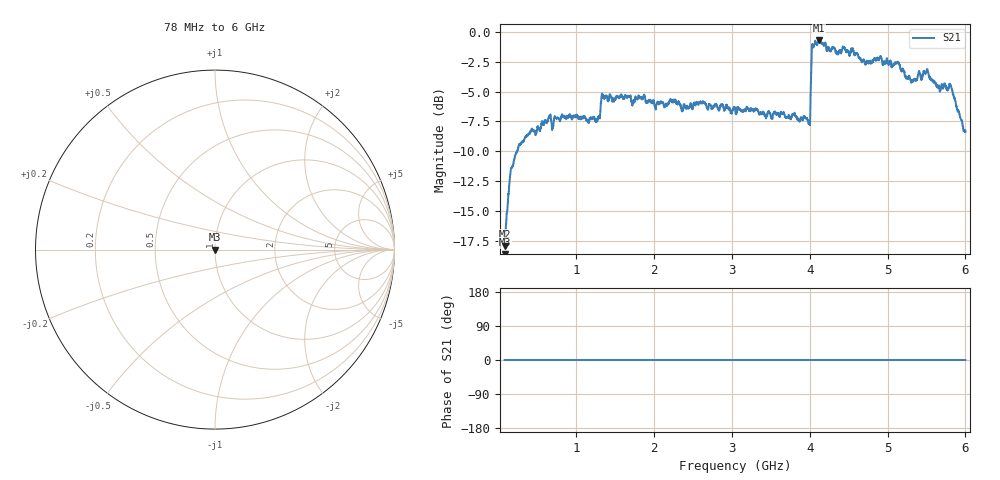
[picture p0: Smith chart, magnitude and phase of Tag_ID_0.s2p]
!	Parâmetros S - Tag_ID_0
#	Hz	S	MA	R	50
!	Freq	magS11	angS11	magS21	angS21	magS12	angS12	magS22	angS22
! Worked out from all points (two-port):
!   5923 points, 78 MHz to 6 GHz, reference 50 ohm
!   highest |S21| = -0.73 dB at 4.118 GHz (marker M1); lowest = -17.9 dB at 78 MHz (marker M2)
!   |S21| within 3 dB of the highest: 4.017 GHz to 5.222 GHz (1.204 GHz wide, 26.1 % of centre); 5.447 GHz to 5.531 GHz (83.85 MHz wide, 1.53 % of centre) (the widest 2 of 7)
!   lowest |S11| = - dB at 78 MHz (marker M3), VSWR 1.00, Z = 50 + j0 ohm
!   |S11| at or under -10 dB: start of sweep to end of sweep
!   S12 and S22 are empty: the file has one direction only
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7.8e7  0 0.0  0.127 0.0  0 0.0  0 0.0
1.63e8  0 0.0  0.27 0.0  0 0.0  0 0.0
2.79e8  0 0.0  0.3403 0.0  0 0.0  0 0.0
6.49e8  0 0.0  0.437 0.0  0 0.0  0 0.0
1.065e9  0 0.0  0.4383 0.0  0 0.0  0 0.0
1.276e9  0 0.0  0.4315 0.0  0 0.0  0 0.0
1.352e9  0 0.0  0.5269 0.0  0 0.0  0 0.0
2.052e9  0 0.0  0.5088 0.0  0 0.0  0 0.0
3.039e9  0 0.0  0.4779 0.0  0 0.0  0 0.0
3.976e9  0 0.0  0.4261 0.0  0 0.0  0 0.0
3.994e9  0 0.0  0.4175 0.0  0 0.0  0 0.0
4.026e9  0 0.0  0.8347 0.0  0 0.0  0 0.0
4.053e9  0 0.0  0.8683 0.0  0 0.0  0 0.0
4.118e9  0 0.0  0.9191 0.0  0 0.0  0 0.0
4.559e9  0 0.0  0.8286 0.0  0 0.0  0 0.0
4.728e9  0 0.0  0.7419 0.0  0 0.0  0 0.0
5.013e9  0 0.0  0.7257 0.0  0 0.0  0 0.0
5.316e9  0 0.0  0.6237 0.0  0 0.0  0 0.0
5.49e9  0 0.0  0.6755 0.0  0 0.0  0 0.0
5.657e9  0 0.0  0.595 0.0  0 0.0  0 0.0
5.808e9  0 0.0  0.5997 0.0  0 0.0  0 0.0
6e9  0 0.0  0.3823 0.0  0 0.0  0 0.0
